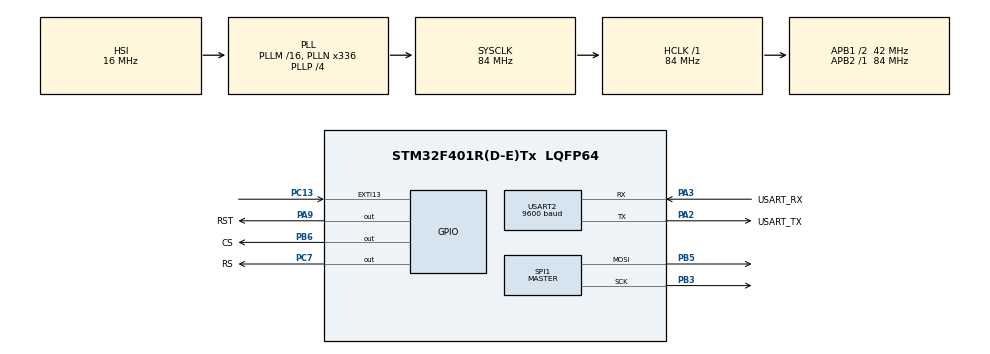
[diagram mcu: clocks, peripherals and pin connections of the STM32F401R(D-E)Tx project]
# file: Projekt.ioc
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Mcu.Family=STM32F4
Mcu.Name=STM32F401R(D-E)Tx
Mcu.Package=LQFP64
NVIC.EXTI15_10_IRQn=true\:0\:0\:false\:false\:true\:true
NVIC.PriorityGroup=NVIC_PRIORITYGROUP_0
NVIC.USART2_IRQn=true\:0\:0\:false\:false\:true\:true
PA13.GPIO_Label=TMS
PA13.Mode=Serial_Wire
PA13.Signal=SYS_JTMS-SWDIO
PA14.GPIO_Label=TCK
PA14.Mode=Serial_Wire
PA14.Signal=SYS_JTCK-SWCLK
PA2.GPIO_Label=USART_TX
PA2.GPIO_Mode=GPIO_MODE_AF_PP
PA2.GPIO_PuPd=GPIO_NOPULL
PA2.GPIO_Speed=GPIO_SPEED_FREQ_LOW
PA2.Mode=Asynchronous
PA2.Signal=USART2_TX
PA3.GPIO_Label=USART_RX
PA3.GPIO_Mode=GPIO_MODE_AF_PP
PA3.GPIO_PuPd=GPIO_NOPULL
PA3.GPIO_Speed=GPIO_SPEED_FREQ_LOW
PA3.Mode=Asynchronous
PA3.Signal=USART2_RX
PA9.GPIO_Label=RST
PA9.Signal=GPIO_Output
PB3.Mode=TX_Only_Simplex_Unidirect_Master
PB3.Signal=SPI1_SCK
PB4.Signal=SPI1_MISO
PB5.Mode=TX_Only_Simplex_Unidirect_Master
PB5.Signal=SPI1_MOSI
PB6.GPIO_Label=CS
PB6.Signal=GPIO_Output
PC13-ANTI_TAMP.GPIO_PuPd=GPIO_PULLUP
PC13-ANTI_TAMP.Signal=GPXTI13
PC14-OSC32_IN.Mode=LSE-External-Oscillator
PC14-OSC32_IN.Signal=RCC_OSC32_IN
PC15-OSC32_OUT.Mode=LSE-External-Oscillator
PC15-OSC32_OUT.Signal=RCC_OSC32_OUT
PC7.GPIO_Label=RS
PC7.Signal=GPIO_Output
PH0\ -\ OSC_IN.Signal=RCC_OSC_IN
PH1\ -\ OSC_OUT.Signal=RCC_OSC_OUT
ProjectManager.HeapSize=0x200
ProjectManager.StackSize=0x400
ProjectManager.TargetToolchain=SW4STM32
RCC.48MHZClocksFreq_Value=48000000
RCC.AHBFreq_Value=84000000
RCC.APB1CLKDivider=RCC_HCLK_DIV2
RCC.APB1Freq_Value=42000000
RCC.APB1TimFreq_Value=84000000
RCC.APB2Freq_Value=84000000
RCC.APB2TimFreq_Value=84000000
RCC.CortexFreq_Value=84000000
RCC.HCLKFreq_Value=84000000
RCC.HSE_VALUE=8000000
RCC.HSI_VALUE=16000000
RCC.PLLN=336
RCC.PLLP=RCC_PLLP_DIV4
RCC.PLLQ=7
RCC.SYSCLKFreq_VALUE=84000000
RCC.SYSCLKSource=RCC_SYSCLKSOURCE_PLLCLK
RCC.VCOOutputFreq_Value=336000000
SPI1.BaudRatePrescaler=SPI_BAUDRATEPRESCALER_32
SPI1.Direction=SPI_DIRECTION_2LINES
SPI1.Mode=SPI_MODE_MASTER
SPI1.VirtualType=VM_MASTER
USART2.BaudRate=9600
USART2.VirtualMode=VM_ASYNC
board=NUCLEO-F401RE

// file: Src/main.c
/**
 ******************************************************************************
 * @file           : main.c
 * @brief          : Main program body
 ******************************************************************************
 ** This notice applies to any and all portions of this file
 * that are not between comment pairs USER CODE BEGIN and
 * USER CODE END. Other portions of this file, whether
 * inserted by the user or by software development tools
 * are owned by their respective copyright owners.
 *
 * COPYRIGHT(c) 2019 STMicroelectronics
 *
 * Redistribution and use in source and binary forms, with or without modification,
 * are permitted provided that the following conditions are met:
 *   1. Redistributions of source code must retain the above copyright notice,
 *      this list of conditions and the following disclaimer.
 *   2. Redistributions in binary form must reproduce the above copyright notice,
 *      this list of conditions and the following disclaimer in the documentation
 *      and/or other materials provided with the distribution.
 *   3. Neither the name of STMicroelectronics nor the names of its contributors
 *      may be used to endorse or promote products derived from this software
 *      without specific prior written permission.
 *
 * THIS SOFTWARE IS PROVIDED BY THE COPYRIGHT HOLDERS AND CONTRIBUTORS "AS IS"
 * AND ANY EXPRESS OR IMPLIED WARRANTIES, INCLUDING, BUT NOT LIMITED TO, THE
 * IMPLIED WARRANTIES OF MERCHANTABILITY AND FITNESS FOR A PARTICULAR PURPOSE ARE
 * DISCLAIMED. IN NO EVENT SHALL THE COPYRIGHT HOLDER OR CONTRIBUTORS BE LIABLE
 * FOR ANY DIRECT, INDIRECT, INCIDENTAL, SPECIAL, EXEMPLARY, OR CONSEQUENTIAL
 * DAMAGES (INCLUDING, BUT NOT LIMITED TO, PROCUREMENT OF SUBSTITUTE GOODS OR
 * SERVICES; LOSS OF USE, DATA, OR PROFITS; OR BUSINESS INTERRUPTION) HOWEVER
 * CAUSED AND ON ANY THEORY OF LIABILITY, WHETHER IN CONTRACT, STRICT LIABILITY,
 * OR TORT (INCLUDING NEGLIGENCE OR OTHERWISE) ARISING IN ANY WAY OUT OF THE USE
 * OF THIS SOFTWARE, EVEN IF ADVISED OF THE POSSIBILITY OF SUCH DAMAGE.
 *
 ******************************************************************************
 */
#include "main.h"
#include "stm32f4xx_hal.h"

/* USER CODE BEGIN Includes */
#include <string.h>
#include <stdio.h>
#include <stdarg.h>
#include <string.h>
#include "st7735.h"
#include "lcd.h"
#include "fonts.h"
#include "testimg.h"

volatile uint8_t BUFF_SIZE = 127;

char Buff_Rx[127] = { '\0' };
char Buff_Tx[127] = { '\0' };

volatile uint8_t Busy_Tx = 0;
volatile uint8_t Empty_Tx = 0;
volatile uint8_t Busy_Rx = 0;
volatile uint8_t Empty_Rx = 0;
volatile int timer = 0;
volatile int poziom = 0;
volatile int wynikgry;

char Bx[127] = { '\0' };
volatile uint8_t Empty_Bx = 0;
volatile uint8_t koniec = 0;
volatile uint16_t suma = 0;
volatile uint16_t checksum = 0;
volatile uint8_t stan = 1;
volatile int odkodowanie;
volatile int zakres=1;
volatile int current;

volatile int gra = 0;
char BBx[127];

/* USER CODE END Includes */

SPI_HandleTypeDef hspi1;

UART_HandleTypeDef huart2;

/* USER CODE BEGIN PV */
/* Private variables ---------------------------------------------------------*/

/* USER CODE END PV */

void SystemClock_Config(void);
static void MX_GPIO_Init(void);
static void MX_USART2_UART_Init(void);
static void MX_SPI1_Init(void);

/* USER CODE BEGIN PFP */
/* Private function prototypes -----------------------------------------------*/
/* Private variables ---------------------------------------------------------*/

/* USER CODE END PFP */

/* USER CODE BEGIN 0 */
void zerujBx() {

	for (int i = 0; i < 128; i++) {
		Bx[i] = '\0';
	}

	Empty_Bx = 0;
	koniec = 0;

}
void zerujBBx() {

	for (int i = 0; i < 128; i++) {
		BBx[i] = '\0';
	}

}
void USART_fsend(char* format, ...) {
	char tmp_rs[128];
	int i;
	__IO int idx;
	va_list valist;
	va_start(valist, format);
	vsprintf(tmp_rs, format, valist);
	va_end(valist);
	idx = Empty_Tx;
	for (i = 0; i < strlen(tmp_rs); i++) {
		Buff_Tx[idx] = tmp_rs[i];
		idx++;
		if (idx >= BUFF_SIZE)
			idx = 0;
	}
	__disable_irq();

	if ((Empty_Tx == Busy_Tx)
			&& (__HAL_UART_GET_FLAG(&huart2,UART_FLAG_TXE) == SET)) {

		Empty_Tx = idx;
		uint8_t tmp = Buff_Tx[Busy_Tx];
		Busy_Tx++;
		if (Busy_Tx >= BUFF_SIZE)
			Busy_Tx = 0;
		HAL_UART_Transmit_IT(&huart2, &tmp, 1);

	} else {
		Empty_Tx = idx;
	}
	__enable_irq();
}

void pack(char* format, ...) {

	 uint16_t suma = 0;

	char tmp_rs[128];
	int i;
	__IO int idx = 0;
	va_list valist;
	va_start(valist, format);
	vsprintf(tmp_rs, format, valist);
	va_end(valist);

	BBx[idx] = 0xE1;
	idx++;

	for (i = 0; i < strlen(tmp_rs); i++) {

		if (tmp_rs[i] == 0xE1) {

			BBx[idx] = 0xE3;
			suma += 0xE3;
			idx++;

			BBx[idx] = 0xE4;
			suma += 0xE4;
			idx++;

		} else if (tmp_rs[i] == 0xE2) {

			BBx[idx] = 0xE3;
			suma += 0xE3;
			idx++;

			BBx[idx] = 0xE5;
			suma += 0xE5;
			idx++;

		} else if (tmp_rs[i] == 0xE3) {

			BBx[idx] = 0xE3;
			suma += 0xE3;
			idx++;

			BBx[idx] = 0xE6;
			suma += 0xE6;
			idx++;

		}else{

			BBx[idx] = tmp_rs[i];
		suma += tmp_rs[i];
		idx++;

		}
	}
	suma+=0x03;

	BBx[idx]= 0x02;
	idx++;

	BBx[idx]= 0x01;
	idx++;

	BBx[idx]= suma;
	idx++;

	BBx[idx]= 0xE2;
	idx++;

	BBx[idx]='\0';

 USART_fsend(BBx);

	zerujBBx();

}

void HAL_UART_RxCpltCallback(UART_HandleTypeDef *huart) {
	if (huart == &huart2) {
		Empty_Rx++;
		if (Empty_Rx >= BUFF_SIZE)
			Empty_Rx = 0;
		HAL_UART_Receive_IT(&huart2, (uint8_t*) &Buff_Rx[Empty_Rx], 1);
	}
}

void HAL_UART_TxCpltCallback(UART_HandleTypeDef *huart) {
	if (huart == &huart2) {
		if (Empty_Tx != Busy_Tx) {
			uint8_t tmp = Buff_Tx[Busy_Tx];
			Busy_Tx++;
			if (Busy_Tx >= BUFF_SIZE)
				Busy_Tx = 0;
			HAL_UART_Transmit_IT(&huart2, &tmp, 1);
		}

	}
}

uint8_t czypustyRx() {
	if (Empty_Rx == Busy_Rx) {
		return 0;
	} else {
		return 1;
	}
}

uint8_t USART_getchar() {

	uint8_t tmp;

	if (Empty_Rx != Busy_Rx) {

		tmp = Buff_Rx[Busy_Rx];
		Busy_Rx++;
		if (Busy_Rx >= BUFF_SIZE)
			Busy_Rx = 0;
		return tmp;
	} else
		return 0;
}

void odkoduj() {

	while (czypustyRx()) {
		uint8_t c;
		c = USART_getchar();

		switch (stan) {
		case 1:
			if (c == 0xE1) {
				stan = 2;
			}
			break;
		case 2:

			if (c == 0xE3) {
				checksum += c;
				stan = 3;
				break;
			} else if (c == 0xE2) {
				koniec = Empty_Bx;
				suma = Bx[koniec - 1];
				stan = 1;
				odkodowanie = 1;
				break;
			} else {
				checksum += c;
				Bx[Empty_Bx] = c;
				Empty_Bx++;
				if (Empty_Bx >= BUFF_SIZE)
				{
					stan = 1;
					odkodowanie = 1;
					zakres=0;
				}
				break;
			}

		case 3:
			if (c == 0xE4) {
				checksum += c;
				Bx[Empty_Bx] = 0xE1;
				Empty_Bx++;
				if (Empty_Bx >= BUFF_SIZE)
					{

					stan=1;
					odkodowanie =1;
					zakres=0;
					}
				else stan = 2;

			} else if (c == 0xE5) {
				checksum += c;
				Bx[Empty_Bx] = 0xE2;
				Empty_Bx++;
				if (Empty_Bx >= BUFF_SIZE)
				{

									stan=1;
									odkodowanie =1;
									zakres=0;
									}
								else stan = 2;

			} else if (c == 0xE6) {
				checksum += c;
				Bx[Empty_Bx] = 0xE3;
				Empty_Bx++;
				if (Empty_Bx >= BUFF_SIZE)
				{

									stan=1;
									odkodowanie=1;
									zakres=0;
									}
								else stan = 2;

			} else {
				stan = 1;
				zerujBx();

			}
			break;

		}
	}

}

uint8_t sprawdzsume() {

	checksum -= Bx[koniec - 1];
	checksum = checksum % 256; //aby mozna bylo zapisac sume kontrolna w HEX, przy duzych liczbach

	if (suma == checksum) {
		Bx[koniec - 1] = '\0';
		checksum = 0;
		return 1;
	} else {
		checksum = 0;
		return 0;
	}
}

uint8_t sprawdzadresy() {

	if (Bx[koniec - 3] == 0x01 && Bx[koniec - 2] == 0x02) {
		Bx[koniec - 3] = '\0';

		return 1;
	} else {
		return 0;
	}

}

int start() {

	ST7735_FillScreen(ST7735_BLACK);
	for (int x = 0; x < ST7735_WIDTH; x++) {
		ST7735_DrawPixel(x, 0, ST7735_WHITE);
		ST7735_DrawPixel(x, ST7735_HEIGHT - 1, ST7735_WHITE);
	}

	for (int y = 0; y < ST7735_HEIGHT; y++) {
		ST7735_DrawPixel(0, y, ST7735_WHITE);
		ST7735_DrawPixel(ST7735_WIDTH - 1, y, ST7735_WHITE);
	}

	ST7735_WriteString(33, 60, "FLAPPY", Font_11x18, ST7735_GREEN,
			ST7735_BLACK);
	ST7735_WriteString(44, 80, "BIRD", Font_11x18, ST7735_CYAN, ST7735_BLACK);

	for (int x = 3; x < 125; x++) {
		ST7735_FillRectangle(x, 140, 3, 3, ST7735_MAGENTA);
	}
	if (poziom == 0) {

		ST7735_WriteString(5, 102, "Press button:PLAY", Font_7x10, ST7735_CYAN,
				ST7735_BLACK);

	}
	if (poziom == 1) {
		ST7735_WriteString(5, 102, "Press button:LVL2", Font_7x10, ST7735_CYAN,
				ST7735_BLACK);
	}
	if (poziom == 2) {
		ST7735_WriteString(5, 102, "Press button:LVL3", Font_7x10, ST7735_CYAN,
				ST7735_BLACK);
	}
	if (poziom == 3) {
		ST7735_WriteString(16, 102, "!!!!WINNER!!!!", Font_7x10, ST7735_CYAN,
				ST7735_BLACK);
	}
	current = 1;
	gra = 1;

	return 1;

}
int stop() {

	ST7735_FillScreen(ST7735_BLACK);

	current=2;
	gra = 2;

	return 1;

}
int lvl() {
	ST7735_FillScreen(ST7735_BLACK);
	for (int x = 0; x < ST7735_WIDTH; x++) {
		ST7735_DrawPixel(x, 0, ST7735_RED);
		ST7735_DrawPixel(x, ST7735_HEIGHT - 1, ST7735_RED);
	}

	for (int y = 0; y < ST7735_HEIGHT; y++) {
		ST7735_DrawPixel(0, y, ST7735_RED);
		ST7735_DrawPixel(ST7735_WIDTH - 1, y, ST7735_RED);
	}

	//gora
	for (int y = 0; y < 100; y++) {
		ST7735_FillRectangle(50, y, 4, 4, ST7735_RED);

	}
	for (int y = 0; y < 110; y++) {
		ST7735_FillRectangle(65, y, 4, 4, ST7735_RED);

	}
	for (int y = 0; y < 80; y++) {
		ST7735_FillRectangle(80, y, 4, 4, ST7735_RED);

	}
	//dol
	for (int y = 160; y > 80; y--) {
		ST7735_FillRectangle(100, y, 4, 4, ST7735_RED);

	}
	for (int y = 160; y > 130; y--) {
		ST7735_FillRectangle(50, y, 4, 4, ST7735_RED);

	}
	for (int y = 160; y > 140; y--) {
		ST7735_FillRectangle(65, y, 4, 4, ST7735_RED);

	}
	current = 3;
	gra = 3;

	return 1;
}

int lvl2() {
	ST7735_FillScreen(ST7735_BLACK);
	for (int x = 0; x < ST7735_WIDTH; x++) {
		ST7735_DrawPixel(x, 0, ST7735_BLUE);
		ST7735_DrawPixel(x, ST7735_HEIGHT - 1, ST7735_BLUE);
	}

	for (int y = 0; y < ST7735_HEIGHT; y++) {
		ST7735_DrawPixel(0, y, ST7735_BLUE);
		ST7735_DrawPixel(ST7735_WIDTH - 1, y, ST7735_BLUE);
	}

	for (int y = 0; y < 95; y++) {
		ST7735_FillRectangle(30, y, 4, 4, ST7735_BLUE);

	}
	for (int y = 0; y < 80; y++) {
		ST7735_FillRectangle(50, y, 4, 4, ST7735_BLUE);

	}
	for (int y = 0; y < 120; y++) {
		ST7735_FillRectangle(110, y, 4, 4, ST7735_BLUE);

	}

	//dol
	for (int y = 160; y > 115; y--) {
		ST7735_FillRectangle(30, y, 4, 4, ST7735_BLUE);

	}
	for (int y = 160; y > 100; y--) {
		ST7735_FillRectangle(50, y, 4, 4, ST7735_BLUE);

	}

	for (int y = 160; y > 145; y--) {
		ST7735_FillRectangle(110, y, 4, 4, ST7735_BLUE);

	}
	current=4;
	gra = 4;

	return 1;
}

int lvl3() {
	ST7735_FillScreen(ST7735_BLACK);
	for (int x = 0; x < ST7735_WIDTH; x++) {
		ST7735_DrawPixel(x, 0, ST7735_GREEN);
		ST7735_DrawPixel(x, ST7735_HEIGHT - 1, ST7735_GREEN);
	}

	for (int y = 0; y < ST7735_HEIGHT; y++) {
		ST7735_DrawPixel(0, y, ST7735_GREEN);
		ST7735_DrawPixel(ST7735_WIDTH - 1, y, ST7735_GREEN);
	}

	for (int y = 0; y < 100; y++) {
		ST7735_FillRectangle(30, y, 4, 4, ST7735_GREEN);
	}
	for (int y = 0; y < 90; y++) {
		ST7735_FillRectangle(45, y, 4, 4, ST7735_GREEN);
	}
	for (int y = 0; y < 80; y++) {
		ST7735_FillRectangle(60, y, 4, 4, ST7735_GREEN);
	}
	for (int y = 0; y < 70; y++) {
		ST7735_FillRectangle(75, y, 4, 4, ST7735_GREEN);
	}
	for (int y = 0; y < 60; y++) {
		ST7735_FillRectangle(90, y, 4, 4, ST7735_GREEN);
	}
	for (int y = 0; y < 50; y++) {
		ST7735_FillRectangle(105, y, 4, 4, ST7735_GREEN);
	}

	//dol

	for (int y = 160; y > 120; y--) {
		ST7735_FillRectangle(30, y, 4, 4, ST7735_GREEN);

	}
	for (int y = 160; y > 110; y--) {
		ST7735_FillRectangle(45, y, 4, 4, ST7735_GREEN);

	}
	for (int y = 160; y > 100; y--) {
		ST7735_FillRectangle(60, y, 4, 4, ST7735_GREEN);

	}
	for (int y = 160; y > 90; y--) {
		ST7735_FillRectangle(75, y, 4, 4, ST7735_GREEN);

	}
	for (int y = 160; y > 80; y--) {
		ST7735_FillRectangle(90, y, 4, 4, ST7735_GREEN);

	}
	for (int y = 160; y > 70; y--) {
		ST7735_FillRectangle(105, y, 4, 4, ST7735_GREEN);

	}
	current=5;
	gra = 5;
	return 1;
}

int wynik() {

	ST7735_FillScreen(ST7735_BLACK);
	ST7735_WriteString(20, 70, "GAME OVER", Font_11x18, ST7735_YELLOW,
			ST7735_BLACK);
	if (wynikgry == 1) {
		ST7735_WriteString(16, 90, "Pathetic", Font_7x10, ST7735_YELLOW,
				ST7735_BLACK);
		ST7735_WriteString(36, 115, "Score: 0", Font_7x10, ST7735_CYAN,
						ST7735_BLACK);
	}
	if (wynikgry == 2) {
		ST7735_WriteString(16, 90, "Not so bad", Font_7x10, ST7735_YELLOW,
				ST7735_BLACK);
		ST7735_WriteString(36, 115, "Score: 1", Font_7x10, ST7735_CYAN,
								ST7735_BLACK);
	}

	if (wynikgry == 3) {
		ST7735_WriteString(16, 90, "Almost...", Font_7x10, ST7735_YELLOW,
				ST7735_BLACK);
		ST7735_WriteString(36, 115, "Score: 2", Font_7x10, ST7735_CYAN,
									ST7735_BLACK);
	}
	current=6;
	return 1;
}
void komunikat()

{
	odkoduj();

	if (odkodowanie) {
		odkodowanie = 0;
		if(zakres)
		{

		if (sprawdzsume()) {

			if (sprawdzadresy()) {
				if (strcmp("ON", Bx) == 0) {
					pack("ON");
					poziom = 0;
					zerujBx();
					start();

				} else if (strcmp("OFF", Bx) == 0) {
					pack("OFF");

					zerujBx();
					stop();

				} else if (strcmp("PLAY1", Bx) == 0) {
					pack("PLAY1");
					zerujBx();

					lvl();

				} else if (strcmp("PLAY2", Bx) == 0) {
					pack("PLAY2");
					zerujBx();
					gra = 4;
					lvl2();

				} else if (strcmp("PLAY3", Bx) == 0) {
					pack("PLAY3");
					zerujBx();
					gra = 5;
					lvl3();

				}
				else if (strcmp("A", Bx) == 0) {
					switch(current)
					{
					case 1:
						pack("ON");
						zerujBx();
						break;
					case 2:
						pack("OFF");
						zerujBx();
						break;
					case 3:
						pack("PLAY1");
						zerujBx();
						break;
					case 4:
						pack("PLAY2");
						zerujBx();
						break;
					case 5:
						pack("PLAY3");
						zerujBx();
						break;
					case 6:
						pack("W");
						zerujBx();
						break;

					}

				}
				else
				{
					pack("Er1");
					zerujBx();
				}

			}
			else {
								pack("Er2");
								zerujBx();
							}

		} else {
			pack("Er3");
			zerujBx();
		}
		}
		else{
			pack("Er4");
			zerujBx();
			zakres=1;

		}
	}
}

/* USER CODE END 0 */

int main(void) {

	/* MCU Configuration----------------------------------------------------------*/

	/* Reset of all peripherals, Initializes the Flash interface and the Systick. */
	HAL_Init();

	/* Configure the system clock */
	SystemClock_Config();

	/* Initialize all configured peripherals */
	MX_GPIO_Init();
	MX_USART2_UART_Init();
	MX_SPI1_Init();
	/* USER CODE BEGIN 2 */

	HAL_UART_Receive_IT(&huart2, (uint8_t*) &Buff_Rx[0], 1);

	/* USER CODE END 2 */

	/* Infinite loop */
	/* USER CODE BEGIN WHILE */

	LCD_SCAN_DIR Lcd_ScanDir = SCAN_DIR_DFT; //SCAN_DIR_DFT = D2U_L2R
	LCD_Init(Lcd_ScanDir);
	start();

	while (1) {

		komunikat();
		volatile int menux = 3;
		volatile int menuy = 135;
		volatile int menulot = 1;
		while (gra == 1) {

			timer = 0;
			while (timer != 50) {
				ST7735_FillRectangle(menux, menuy, 3, 3, ST7735_YELLOW);

			}
			ST7735_FillRectangle(menux, menuy, 3, 3, ST7735_BLACK);

			menux++;
			switch (menulot) {
			case 1:
				menuy--;
				break;
			case 2:
				menuy++;
				break;
			}
			if (menuy == 115) {
				menulot = 2;
			} else if (menuy == 135) {
				menulot = 1;
			}
			if (HAL_GPIO_ReadPin(GPIOC, GPIO_PIN_13) == 0) {
				if (poziom == 0)
					lvl();
				if (poziom == 1)
					lvl2();
				if (poziom == 2)
					lvl3();

			}

			if (menux == 125) {
				menux = 3;
			}

			komunikat();

		}

		////////////////////////////////PIERWSZY POZIOM

		volatile int lvl1x = 3;
		volatile int lvl1y = 80;

		while (gra == 3) {

			timer = 0;
			while (timer != 100) {
				ST7735_FillRectangle(lvl1x, lvl1y, 3, 3, ST7735_YELLOW);

			}

			ST7735_FillRectangle(lvl1x, lvl1y, 3, 3, ST7735_BLACK);

			lvl1x++;
			lvl1y++;
			if (HAL_GPIO_ReadPin(GPIOC, GPIO_PIN_13) == 0) {
				lvl1x = lvl1x + 1;
				lvl1y = lvl1y - 5;

			}

			if ((lvl1y <= (-2)|| lvl1y >= 155)

					||((lvl1x==50||lvl1x==49||lvl1x==51||lvl1x==52||lvl1x==53)&&(lvl1y<=102 && lvl1y>=0))
					||((lvl1x==50||lvl1x==49||lvl1x==51||lvl1x==52||lvl1x==53)&&(lvl1y>=128 && lvl1y<=160))
					//druga
					||((lvl1x==65||lvl1x==64||lvl1x==66||lvl1x==67||lvl1x==68)&&(lvl1y<=112 && lvl1y>=0))
					||((lvl1x==65||lvl1x==64||lvl1x==67||lvl1x==67||lvl1x==68)&&(lvl1y>=138 && lvl1y<=160))
					//trzecia
					||((lvl1x==80||lvl1x==79||lvl1x==81||lvl1x==82||lvl1x==83)&&(lvl1y<=82 && lvl1y>=0))
					//czwarta

					||((lvl1x==100||lvl1x==99||lvl1x==101||lvl1x==102||lvl1x==103)&&(lvl1y>=78 && lvl1y<=160))

			)
			{
				wynikgry = 1;
				wynik();
				gra = 0;

			}
			if (lvl1x >= 125) {
				poziom = 1;
				start();
				gra = 1;
			}

			komunikat();

		}

		///////////////////////////////// DRUGI POZIOM
		volatile int lvl2x = 3;
		volatile int lvl2y = 80;

		while (gra == 4) {
			timer = 0;
			while (timer != 100) {
				ST7735_FillRectangle(lvl2x, lvl2y, 3, 3, ST7735_RED);

			}

			ST7735_FillRectangle(lvl2x, lvl2y, 3, 3, ST7735_BLACK);

			lvl2x++;
			lvl2y++;
			if (HAL_GPIO_ReadPin(GPIOC, GPIO_PIN_13) == 0) {
				lvl2x = lvl2x + 1;
				lvl2y = lvl2y - 5;

			}

			if ((lvl2y <= (-2) || lvl2y >= 155)
					||((lvl2x==30||lvl2x==29||lvl2x==31||lvl2x==32||lvl2x==33)&&(lvl2y<=97 && lvl2y>=0))
					||((lvl2x==30||lvl2x==29||lvl2x==31||lvl2x==32||lvl2x==33)&&(lvl2y>=113 && lvl2y<=160))
					///drugie
					||((lvl2x==50||lvl2x==49||lvl2x==51||lvl2x==52||lvl2x==53)&&(lvl2y<=82 && lvl2y>=0))
					||((lvl2x==50||lvl2x==49||lvl2x==51||lvl2x==52||lvl2x==53)&&(lvl2y>=98 && lvl2y<=160))
					//trzecie
					||((lvl2x==110||lvl2x==109||lvl2x==111||lvl2x==112||lvl2x==113)&&(lvl2y<=122 && lvl2y>=0))
					||((lvl2x==110||lvl2x==109||lvl2x==111||lvl2x==112||lvl2x==113)&&(lvl2y>=143 && lvl2y<=160))

			)

			{
				wynikgry = 2;
				wynik();
				gra = 0;

			}
			if (lvl2x >= 125) {
				poziom = 2;
				start();
				gra = 1;
			}

			komunikat();

		}

		//////////////////////POZIOM 3
		volatile int lvl3x = 3;
		volatile int lvl3y = 100;

		while (gra == 5) {
			timer = 0;
			while (timer != 100) {
				ST7735_FillRectangle(lvl3x, lvl3y, 3, 3, ST7735_MAGENTA);

			}

			ST7735_FillRectangle(lvl3x, lvl3y, 3, 3, ST7735_BLACK);

			lvl3x++;
			lvl3y++;
			if (HAL_GPIO_ReadPin(GPIOC, GPIO_PIN_13) == 0) {
				lvl3x = lvl3x + 1;
				lvl3y = lvl3y - 5;

			}

			if ((lvl3y <= (-2) || lvl3y >= 155)

				||((lvl3x==30||lvl3x==29||lvl3x==31||lvl3x==32||lvl3x==33)&&(lvl3y<=102 && lvl3y>=0))
				||((lvl3x==30||lvl3x==29||lvl3x==31||lvl3x==32||lvl3x==33)&&(lvl3y>=118 && lvl3y<=160))
				////druga

				||((lvl3x==45||lvl3x==44||lvl3x==46||lvl3x==47||lvl3x==48)&&(lvl3y<=92 && lvl3y>=0))
				||((lvl3x==45||lvl3x==44||lvl3x==46||lvl3x==47||lvl3x==48)&&(lvl3y>=108 && lvl3y<=160))
				//trzecia

				||((lvl3x==60||lvl3x==59||lvl3x==61||lvl3x==62||lvl3x==63)&&(lvl3y<=82 && lvl3y>=0))
				||((lvl3x==60||lvl3x==59||lvl3x==61||lvl3x==62||lvl3x==63)&&(lvl3y>=98 && lvl3y<=160))
				//czwarte

				||((lvl3x==75||lvl3x==75||lvl3x==75||lvl3x==75||lvl3x==75)&&(lvl3y<=72 && lvl3y>=0))
				||((lvl3x==75||lvl3x==75||lvl3x==75||lvl3x==75||lvl3x==75)&&(lvl3y>=88 && lvl3y<=160))
				//piate

				||((lvl3x==90||lvl3x==89||lvl3x==91||lvl3x==92||lvl3x==93)&&(lvl3y<=62 && lvl3y>=0))
				||((lvl3x==90||lvl3x==89||lvl3x==91||lvl3x==92||lvl3x==93)&&(lvl3y>=78 && lvl3y<=160))
				//szoste

				||((lvl3x==105||lvl3x==104||lvl3x==106||lvl3x==107||lvl3x==108)&&(lvl3y<=52 && lvl3y>=0))
				||((lvl3x==105||lvl3x==104||lvl3x==106||lvl3x==107||lvl3x==108)&&(lvl3y>=68 && lvl3y<=160))

				)
			{
				wynikgry = 3;
				wynik();
				gra = 0;

			}
			if (lvl3x >= 125) {
				poziom = 3;
				start();
				gra = 1;
			}

			komunikat();

		}

		while (gra == 2) {
			stop();
			komunikat();

		}

		/* USER CODE END WHILE */

	}

}

void SystemClock_Config(void) {

	RCC_OscInitTypeDef RCC_OscInitStruct;
	RCC_ClkInitTypeDef RCC_ClkInitStruct;

	/**Configure the main internal regulator output voltage
	 */
	__HAL_RCC_PWR_CLK_ENABLE()
	;

	__HAL_PWR_VOLTAGESCALING_CONFIG(PWR_REGULATOR_VOLTAGE_SCALE2);

	/**Initializes the CPU, AHB and APB busses clocks
	 */
	RCC_OscInitStruct.OscillatorType = RCC_OSCILLATORTYPE_HSI;
	RCC_OscInitStruct.HSIState = RCC_HSI_ON;
	RCC_OscInitStruct.HSICalibrationValue = 16;
	RCC_OscInitStruct.PLL.PLLState = RCC_PLL_ON;
	RCC_OscInitStruct.PLL.PLLSource = RCC_PLLSOURCE_HSI;
	RCC_OscInitStruct.PLL.PLLM = 16;
	RCC_OscInitStruct.PLL.PLLN = 336;
	RCC_OscInitStruct.PLL.PLLP = RCC_PLLP_DIV4;
	RCC_OscInitStruct.PLL.PLLQ = 7;
	if (HAL_RCC_OscConfig(&RCC_OscInitStruct) != HAL_OK) {
		_Error_Handler(__FILE__, __LINE__);
	}

	/**Initializes the CPU, AHB and APB busses clocks
	 */
	RCC_ClkInitStruct.ClockType = RCC_CLOCKTYPE_HCLK | RCC_CLOCKTYPE_SYSCLK
			| RCC_CLOCKTYPE_PCLK1 | RCC_CLOCKTYPE_PCLK2;
	RCC_ClkInitStruct.SYSCLKSource = RCC_SYSCLKSOURCE_PLLCLK;
	RCC_ClkInitStruct.AHBCLKDivider = RCC_SYSCLK_DIV1;
	RCC_ClkInitStruct.APB1CLKDivider = RCC_HCLK_DIV2;
	RCC_ClkInitStruct.APB2CLKDivider = RCC_HCLK_DIV1;

	if (HAL_RCC_ClockConfig(&RCC_ClkInitStruct, FLASH_LATENCY_2) != HAL_OK) {
		_Error_Handler(__FILE__, __LINE__);
	}

	/**Configure the Systick interrupt time
	 */
	HAL_SYSTICK_Config(HAL_RCC_GetHCLKFreq() / 1000);

	/**Configure the Systick
	 */
	HAL_SYSTICK_CLKSourceConfig(SYSTICK_CLKSOURCE_HCLK);

	/* SysTick_IRQn interrupt configuration */
	HAL_NVIC_SetPriority(SysTick_IRQn, 0, 0);
}

/* SPI1 init function */
static void MX_SPI1_Init(void) {

	/* SPI1 parameter configuration*/
	hspi1.Instance = SPI1;
	hspi1.Init.Mode = SPI_MODE_MASTER;
	hspi1.Init.Direction = SPI_DIRECTION_2LINES;
	hspi1.Init.DataSize = SPI_DATASIZE_8BIT;
	hspi1.Init.CLKPolarity = SPI_POLARITY_LOW;
	hspi1.Init.CLKPhase = SPI_PHASE_1EDGE;
	hspi1.Init.NSS = SPI_NSS_SOFT;
	hspi1.Init.BaudRatePrescaler = SPI_BAUDRATEPRESCALER_32;
	hspi1.Init.FirstBit = SPI_FIRSTBIT_MSB;
	hspi1.Init.TIMode = SPI_TIMODE_DISABLE;
	hspi1.Init.CRCCalculation = SPI_CRCCALCULATION_DISABLE;
	hspi1.Init.CRCPolynomial = 10;
	if (HAL_SPI_Init(&hspi1) != HAL_OK) {
		_Error_Handler(__FILE__, __LINE__);
	}

}

/* USART2 init function */
static void MX_USART2_UART_Init(void) {

	huart2.Instance = USART2;
	huart2.Init.BaudRate = 9600;
	huart2.Init.WordLength = UART_WORDLENGTH_8B;
	huart2.Init.StopBits = UART_STOPBITS_1;
	huart2.Init.Parity = UART_PARITY_NONE;
	huart2.Init.Mode = UART_MODE_TX_RX;
	huart2.Init.HwFlowCtl = UART_HWCONTROL_NONE;
	huart2.Init.OverSampling = UART_OVERSAMPLING_16;
	if (HAL_UART_Init(&huart2) != HAL_OK) {
		_Error_Handler(__FILE__, __LINE__);
	}

}

/** Configure pins as
 * Analog
 * Input
 * Output
 * EVENT_OUT
 * EXTI
 */
static void MX_GPIO_Init(void) {

	GPIO_InitTypeDef GPIO_InitStruct;

	/* GPIO Ports Clock Enable */
	__HAL_RCC_GPIOC_CLK_ENABLE()
	;
	__HAL_RCC_GPIOH_CLK_ENABLE()
	;
	__HAL_RCC_GPIOA_CLK_ENABLE()
	;
	__HAL_RCC_GPIOB_CLK_ENABLE()
	;

	/*Configure GPIO pin Output Level */
	HAL_GPIO_WritePin(RS_GPIO_Port, RS_Pin, GPIO_PIN_RESET);

	/*Configure GPIO pin Output Level */
	HAL_GPIO_WritePin(RST_GPIO_Port, RST_Pin, GPIO_PIN_RESET);

	/*Configure GPIO pin Output Level */
	HAL_GPIO_WritePin(CS_GPIO_Port, CS_Pin, GPIO_PIN_RESET);

	/*Configure GPIO pin : PC13 */
	GPIO_InitStruct.Pin = GPIO_PIN_13;
	GPIO_InitStruct.Mode = GPIO_MODE_IT_RISING;
	GPIO_InitStruct.Pull = GPIO_PULLUP;
	HAL_GPIO_Init(GPIOC, &GPIO_InitStruct);

	/*Configure GPIO pin : RS_Pin */
	GPIO_InitStruct.Pin = RS_Pin;
	GPIO_InitStruct.Mode = GPIO_MODE_OUTPUT_PP;
	GPIO_InitStruct.Pull = GPIO_NOPULL;
	GPIO_InitStruct.Speed = GPIO_SPEED_FREQ_LOW;
	HAL_GPIO_Init(RS_GPIO_Port, &GPIO_InitStruct);

	/*Configure GPIO pin : RST_Pin */
	GPIO_InitStruct.Pin = RST_Pin;
	GPIO_InitStruct.Mode = GPIO_MODE_OUTPUT_PP;
	GPIO_InitStruct.Pull = GPIO_NOPULL;
	GPIO_InitStruct.Speed = GPIO_SPEED_FREQ_LOW;
	HAL_GPIO_Init(RST_GPIO_Port, &GPIO_InitStruct);

	/*Configure GPIO pin : CS_Pin */
	GPIO_InitStruct.Pin = CS_Pin;
	GPIO_InitStruct.Mode = GPIO_MODE_OUTPUT_PP;
	GPIO_InitStruct.Pull = GPIO_NOPULL;
	GPIO_InitStruct.Speed = GPIO_SPEED_FREQ_LOW;
	HAL_GPIO_Init(CS_GPIO_Port, &GPIO_InitStruct);

	/* EXTI interrupt init*/
	HAL_NVIC_SetPriority(EXTI15_10_IRQn, 0, 0);
	HAL_NVIC_EnableIRQ(EXTI15_10_IRQn);

}

void _Error_Handler(char *file, int line) {
	while (1) {
	}
}

/************************ (C) COPYRIGHT STMicroelectronics *****END OF FILE****/
